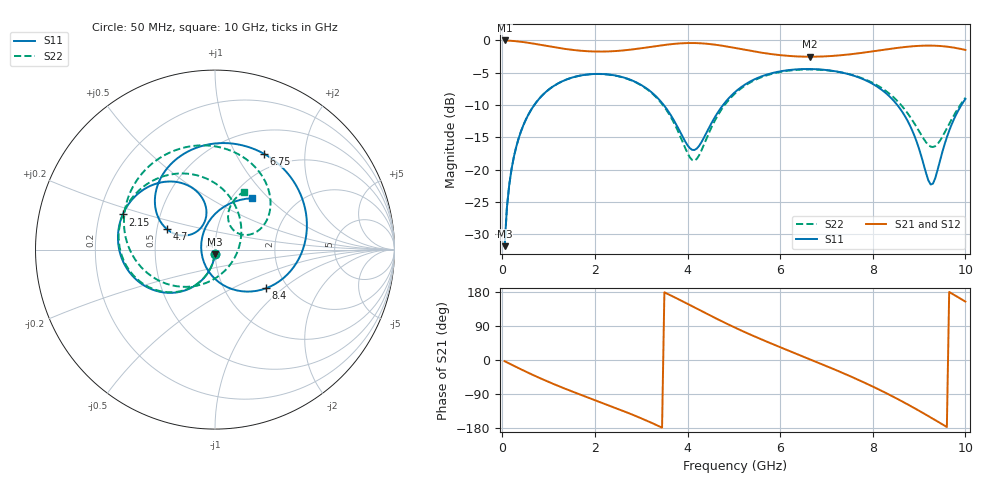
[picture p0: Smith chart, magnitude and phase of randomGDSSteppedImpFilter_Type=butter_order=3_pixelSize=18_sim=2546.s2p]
! freq	dB(S11)	phase(S11)	dB(S12)	phase(S12)
!  dB(S21)	phase(S21)	dB(S22)	phase(S22)
!S-par simulation data
#  GHz  S  DB  R 50
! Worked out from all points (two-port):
!   200 points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, 50 MHz to 10 GHz, reference 50 ohm
!   highest |S21| = -0.01 dB at 50 MHz (marker M1); lowest = -2.5 dB at 6.65 GHz (marker M2)
!   |S21| within 3 dB of the highest: start of sweep to end of sweep
!   lowest |S11| = -31.8 dB at 50 MHz (marker M3), VSWR 1.05, Z = 49.8 - j2.55 ohm
!   |S11| at or under -10 dB: start of sweep to 690.3 MHz; 3.486 GHz to 4.767 GHz (1.281 GHz wide, 31 % of centre); 8.53 GHz to 9.914 GHz (1.384 GHz wide, 15 % of centre)
!   |S22| runs from -31.8 to -4.5 dB; largest |S21 - S12| = 0
!   S11 on the Smith chart (normalised r, x): 50 MHz: 1.00, -0.05; 2.15 GHz: 0.30, +0.17; 4.7 GHz: 0.56, +0.14; 6.75 GHz: 0.79, +1.31; 8.4 GHz: 1.57, -0.77; 10 GHz: 1.23, +0.80
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0.05  -31.83 -93.2  -0.01 -3.1  -0.01 -3.1  -31.83 -93.2
0.2  -19.89 -102.6  -0.06 -12.3  -0.06 -12.3  -19.89 -102.8
0.5  -12.38 -120.5  -0.30 -30.2  -0.30 -30.2  -12.39 -121.0
1.05  -7.35 -150.4  -0.96 -60.4  -0.96 -60.4  -7.35 -151.5
1.75  -5.35 176.6  -1.63 -94.4  -1.63 -94.4  -5.36 173.8
2.15  -5.19 159.1  -1.72 -112.8  -1.72 -112.8  -5.21 154.7
2.85  -6.34 129.2  -1.36 -146.2  -1.36 -146.2  -6.38 118.6
3.4  -9.26 107.8  -0.80 -175.7  -0.80 -175.7  -9.40 82.6
4.15  -16.95 133.2  -0.41 138.8  -0.41 138.8  -18.59 -36.2
4.7  -10.66 156.8  -0.77 104.6  -0.77 104.6  -11.05 -132.4
5.05  -7.84 145.0  -1.20 84.0  -1.20 84.0  -8.05 -160.2
5.8  -5.10 110.3  -2.11 43.9  -2.11 43.9  -5.21 156.1
6.65  -4.42 68.0  -2.52 1.6  -2.52 1.6  -4.49 115.3
6.7  -4.43 65.4  -2.52 -0.9  -2.52 -0.9  -4.49 112.9
6.75  -4.44 62.8  -2.52 -3.4  -2.52 -3.4  -4.50 110.7
7.6  -5.48 15.8  -2.07 -47.5  -2.07 -47.5  -5.44 71.6
8.35  -8.59 -33.3  -1.33 -91.1  -1.33 -91.1  -8.19 37.6
8.4  -8.94 -37.1  -1.28 -94.2  -1.28 -94.2  -8.48 35.6
8.8  -13.12 -71.8  -0.94 -120.3  -0.94 -120.3  -11.76 23.4
9.25  -22.29 -167.5  -0.80 -151.5  -0.80 -151.5  -16.43 41.6
9.6  -14.98 96.1  -0.96 -176.8  -0.96 -176.8  -13.61 69.5
10  -9.05 54.2  -1.48 154.2  -1.48 154.2  -8.88 63.5
